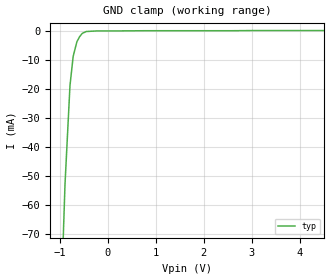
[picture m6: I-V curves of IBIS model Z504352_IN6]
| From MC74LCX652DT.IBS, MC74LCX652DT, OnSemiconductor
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| (C) COPYRIGHT 1993-2000
| MENTOR GRAPHICS CORPORATION
| ICX STANDARD LIBRARY, ICX PROJECT MODELING,
| ICX CUSTOM MODELING, ICX VENDOR MODEL
| ALL RIGHTS RESERVED.
| THE FOLLOWING ARE TRADEMARKS OR SERVICE MARKS OF
| MENTOR GRAPHICS CORPORATION:ICX (R), ICX STANDARD
| LIBRARY(R), ICX PROJECT MODELING(R), ICX CUSTOM
| MODELING(R), qualityIBIS(TM), MODELVIEWER(TM),
| AND MODELEDITOR(TM)
| ALL COPIES OF SOFTWARE, INCLUDING BUT NOT LIMITED TO
| ANY MODIFICATIONS, ENHANCEMENTS OR DERIVATIVE WORKS,
| MUST CONTAIN ALL MENTOR GRAPHICS CORPORATION'S
| NOTICES AND LEGENDS, INCLUDING THOSE EMBEDDED IN
| SOFTWARE AND THOSE AFFIXED TO SOFTWARE MEDIUM
| AND CONTAINER, AS RECEIVED FROM MENTOR GRAPHICS
| CORPORATION.
| Model Application Version 1.89 2/18/99.
[Model] Z504352_IN6
Model_type Input
Vinl = 800.0mV
Vinh = 2.000V
C_comp 4.000pF NA NA
| variable typ   min   max
[Voltage Range] 3.300V NA NA
[GND Clamp Reference] 0.000V NA NA
[POWER Clamp Reference] 3.300V NA NA
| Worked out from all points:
|   GND clamp passes 1 mA (typ) near -0.55 V on its own axis
[GND Clamp]
-3.3V     -1.48A     NA         NA
-1.035V   -124.4mA   NA         NA
-893.2mV  -52.93mA   NA         NA
-789.5mV  -18.78mA   NA         NA
-722.6mV  -8.62mA    NA         NA
-644.5mV  -3.58mA    NA         NA
-587.8mV  -1.838mA   NA         NA
-532mV    -692.3uA   NA         NA
-449.2mV  -71.76uA   NA         NA
767.8mV   199.5uA    NA         NA
6.6V      260uA      NA         NA
[POWER Clamp]
-3.3V     0A         NA         NA
6.6V      0A         NA         NA
